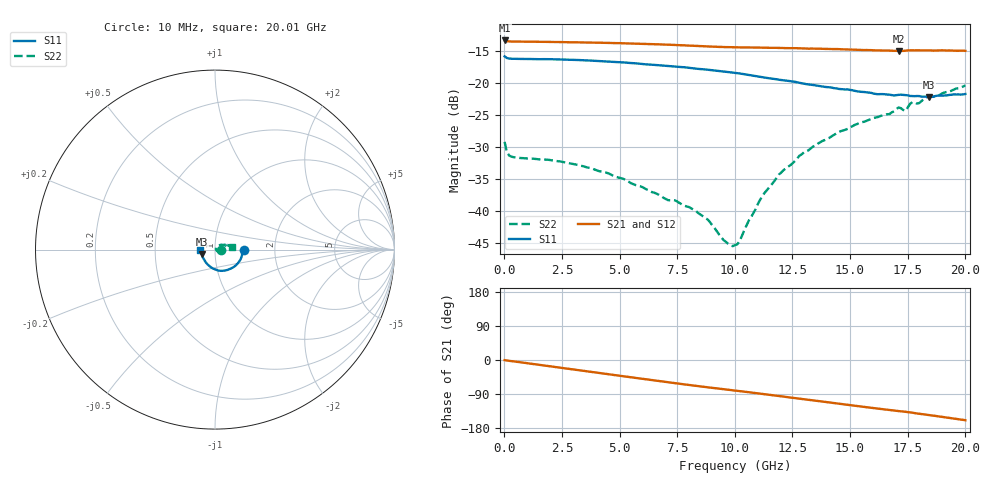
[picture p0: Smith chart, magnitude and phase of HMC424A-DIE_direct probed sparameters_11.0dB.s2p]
!s2p File: Measurements: S11, S21, S12, S22
# GHz S dB R 50.0
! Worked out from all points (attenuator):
!   201 points, 10 MHz to 20.01 GHz, reference 50 ohm
!   highest |S21| = -13.34 dB at 10 MHz (marker M1); lowest = -15.0 dB at 17.11 GHz (marker M2)
!   lowest |S11| = -22.2 dB at 18.41 GHz (marker M3), VSWR 1.17, Z = 43.1 - j2.28 ohm
!   |S11| at or under -10 dB: start of sweep to end of sweep
!   |S22| runs from -45.5 to -20.4 dB; largest |S21 - S12| = 0.0016
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0.01  -15.83 -0.8  -13.34 -0.3  -13.34 -0.4  -29.20 -3.3
0.11  -16.09 -1.9  -13.46 -1.4  -13.46 -1.4  -30.82 -8.1
0.31  -16.20 -2.9  -13.51 -2.9  -13.50 -2.9  -31.51 -6.4
3.41  -16.44 -25.1  -13.65 -28.4  -13.65 -28.5  -33.00 -26.1
5.11  -16.75 -38.3  -13.78 -42.4  -13.78 -42.4  -34.91 -35.3
6.71  -17.23 -50.5  -13.95 -55.5  -13.95 -55.5  -37.48 -34.7
8.31  -17.75 -63.1  -14.19 -68.2  -14.19 -68.2  -39.99 -28.5
8.81  -17.91 -67.6  -14.28 -71.9  -14.28 -71.9  -41.30 -25.2
9.51  -18.19 -73.9  -14.37 -77.0  -14.37 -77.0  -44.55 -10.7
10.01  -18.41 -78.3  -14.40 -80.7  -14.41 -80.6  -45.37 19.7
10.21  -18.50 -80.0  -14.42 -82.1  -14.43 -82.1  -44.72 35.5
11.21  -19.10 -89.1  -14.47 -89.6  -14.47 -89.6  -37.60 59.1
11.91  -19.48 -95.3  -14.51 -95.0  -14.51 -95.0  -34.33 58.3
13.41  -20.31 -108.9  -14.62 -106.6  -14.63 -106.6  -29.91 48.1
15.21  -21.21 -126.8  -14.77 -120.7  -14.77 -120.6  -26.54 35.2
16.71  -21.82 -142.4  -14.93 -131.9  -14.91 -131.9  -24.86 26.8
17.11  -21.85 -145.9  -14.98 -134.8  -14.92 -134.8  -23.82 24.1
17.41  -21.88 -149.7  -14.93 -136.7  -14.94 -137.1  -24.35 23.7
17.71  -22.04 -152.1  -14.87 -139.2  -14.91 -139.4  -22.98 21.4
18.01  -22.04 -155.7  -14.89 -141.9  -14.93 -141.8  -23.12 20.6
18.41  -22.17 -160.3  -14.90 -145.1  -14.91 -145.0  -22.19 17.0
20.01  -21.71 -178.6  -14.96 -159.0  -14.94 -158.9  -20.36 8.9
